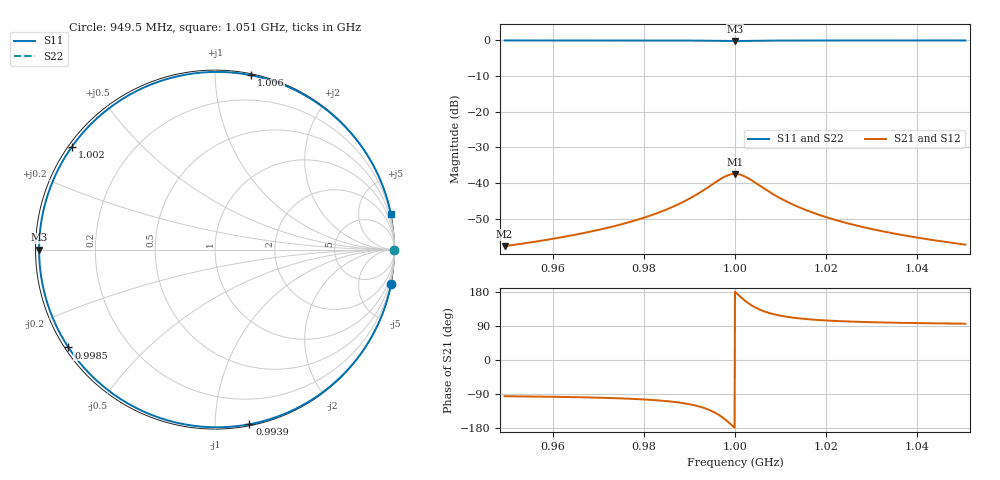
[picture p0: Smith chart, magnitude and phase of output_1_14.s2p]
! File generated for n1 = 1, n2 = 14
! b1 = 100.000000
! b2 = 0.004642
! Q0 = 10000.000000
! f0 = 1000000000.000000
! n = 1001
! rel_span = 10.000000
# Hz S RI R 50
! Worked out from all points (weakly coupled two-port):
!   1001 points, 949.5 MHz to 1.051 GHz, reference 50 ohm
!   highest |S21| = -37.40 dB at 1 GHz (marker M1); lowest = -57.7 dB at 949.5 MHz (marker M2)
!   lowest |S11| = -0.2 dB at 1 GHz (marker M3), VSWR 99.54, Z = 0.502 + j0 ohm
!   |S11| at or under -10 dB: nowhere
!   |S22| runs from 0.0 to 0.0 dB; largest |S21 - S12| = 0
!   S11 on the Smith chart (normalised r, x): 949.5 MHz: 0, -10; 993.9 MHz: 0.01, -1.22; 998.5 MHz: 0.01, -0.30; 1.002 GHz: 0.01, +0.32; 1.006 GHz: 0.01, +1.23; 1.051 GHz: 0.01, +9.86
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9.494977e8  0.9814 -0.1911  -0.000127 -0.0013  -0.000127 -0.0013  1 -8.87e-06
9.663655e8  0.9578 -0.286  -0.000288 -0.00195  -0.000288 -0.00195  1 -1.33e-05
9.759609e8  0.9182 -0.394  -0.000557 -0.00268  -0.000557 -0.00268  1 -1.83e-05
9.832332e8  0.8378 -0.5429  -0.0011 -0.0037  -0.0011 -0.0037  1 -2.52e-05
9.896975e8  0.6196 -0.7801  -0.00259 -0.00531  -0.00259 -0.00531  1 -3.62e-05
9.920206e8  0.4369 -0.8933  -0.00384 -0.00609  -0.00384 -0.00609  1 -4.15e-05
9.939397e8  0.1914 -0.9733  -0.00551 -0.00663  -0.00551 -0.00663  1 -4.52e-05
9.964648e8  -0.3274 -0.9308  -0.00904 -0.00634  -0.00904 -0.00634  0.9999 -4.32e-05
9.974749e8  -0.5833 -0.7926  -0.0108 -0.0054  -0.0108 -0.0054  0.9999 -3.68e-05
9.984849e8  -0.8164 -0.5453  -0.0124 -0.00372  -0.0124 -0.00372  0.9999 -2.53e-05
1e9  -0.9801 0  -0.0135 0  -0.0135 0  0.9999 0
1.000808e9  -0.9307 0.3088  -0.0132 0.0021  -0.0132 0.0021  0.9999 1.43e-05
1.001616e9  -0.7964 0.5744  -0.0122 0.00391  -0.0122 0.00391  0.9999 2.67e-05
1.002525e9  -0.5849 0.7914  -0.0108 0.00539  -0.0108 0.00539  0.9999 3.67e-05
1.003535e9  -0.3305 0.9297  -0.00906 0.00633  -0.00906 0.00633  0.9999 4.32e-05
1.004646e9  -0.0747 0.9864  -0.00732 0.00672  -0.00732 0.00672  1 4.58e-05
1.006161e9  0.2013 0.9714  -0.00544 0.00662  -0.00544 0.00662  1 4.51e-05
1.00808e9  0.4406 0.8915  -0.00381 0.00607  -0.00381 0.00607  1 4.14e-05
1.010403e9  0.6192 0.7804  -0.00259 0.00532  -0.00259 0.00532  1 3.62e-05
1.016868e9  0.8346 0.5479  -0.00113 0.00373  -0.00113 0.00373  1 2.54e-05
1.033736e9  0.9552 0.2945  -0.000305 0.00201  -0.000305 0.00201  1 1.37e-05
1.050502e9  0.9794 0.2008  -0.00014 0.00137  -0.00014 0.00137  1 9.32e-06
